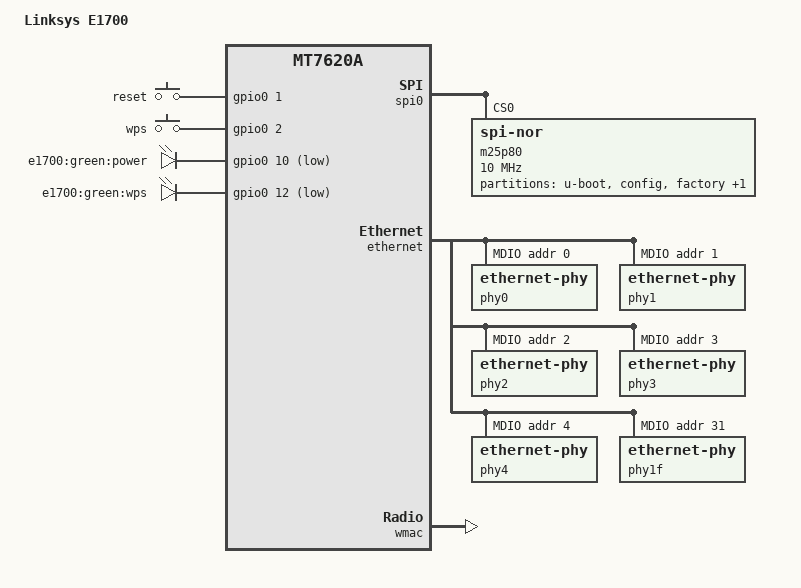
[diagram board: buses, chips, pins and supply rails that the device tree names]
/*
 * Device Tree file for the Linksys E1700
 *
 * Copyright (C) 2014 Imre Kaloz <kaloz@openwrt.org>
 *
 * This file is licensed under the terms of the GNU General Public
 * License version 2.  This program is licensed "as is" without any
 * warranty of any kind, whether express or implied.
 */

/dts-v1/;

#include "mt7620a.dtsi"

/ {
	compatible = "linksys,e1700", "ralink,mt7620a-soc";
	model = "Linksys E1700";

	gpio-keys-polled {
		compatible = "gpio-keys-polled";
		#address-cells = <1>;
		#size-cells = <0>;
		poll-interval = <20>;

		reset {
			label = "reset";
			gpios = <&gpio0 1 0>;
			linux,code = <0x198>;
		};

		wps {
			label = "wps";
			gpios = <&gpio0 2 0>;
			linux,code = <0x211>;
		};
	};

	gpio-leds {
		compatible = "gpio-leds";

		power {
			label = "e1700:green:power";
			gpios = <&gpio0 10 1>;
		};

		wan {
			label = "e1700:green:wps";
			gpios = <&gpio0 12 1>;
		};
	};
};

&spi0 {
	status = "okay";

	m25p80@0 {
		#address-cells = <1>;
		#size-cells = <1>;
		compatible = "jedec,spi-nor";
		reg = <0>;
		linux,modalias = "m25p80", "mx25l6405d";
		spi-max-frequency = <10000000>;

		partition@0 {
			label = "u-boot";
			reg = <0x0 0x30000>;
			read-only;
		};

		partition@30000 {
			label = "config";
			reg = <0x30000 0x10000>;
			read-only;
		};

		factory: partition@40000 {
			label = "factory";
			reg = <0x40000 0x10000>;
			read-only;
		};

		partition@50000 {
			label = "firmware";
			reg = <0x50000 0x7b0000>;
		};
	};
};

&pinctrl {
	state_default: pinctrl0 {
		gpio {
			ralink,group = "i2c", "uartf";
			ralink,function = "gpio";
		};
	};
};

&ethernet {
	status = "okay";
	mtd-mac-address = <&factory 0x28>;
	pinctrl-names = "default";
	pinctrl-0 = <&rgmii1_pins &rgmii2_pins &mdio_pins>;

	port@5 {
		status = "okay";
		mediatek,fixed-link = <1000 1 1 1>;
		phy-mode = "rgmii";
	};

	mdio-bus {
		status = "okay";

		phy0: ethernet-phy@0 {
			reg = <0>;
			phy-mode = "rgmii";
		};

		phy1: ethernet-phy@1 {
			reg = <1>;
			phy-mode = "rgmii";
		};

		phy2: ethernet-phy@2 {
			reg = <2>;
			phy-mode = "rgmii";
		};

		phy3: ethernet-phy@3 {
			reg = <3>;
			phy-mode = "rgmii";
		};

		phy4: ethernet-phy@4 {
			reg = <4>;
			phy-mode = "rgmii";
		};

		phy1f: ethernet-phy@1f {
			reg = <0x1f>;
			phy-mode = "rgmii";
		};
	};
};

&gsw {
	mediatek,port4 = "gmac";
	mediatek,mt7530 = <1>;
};

&wmac {
	ralink,mtd-eeprom = <&factory 0>;
};
